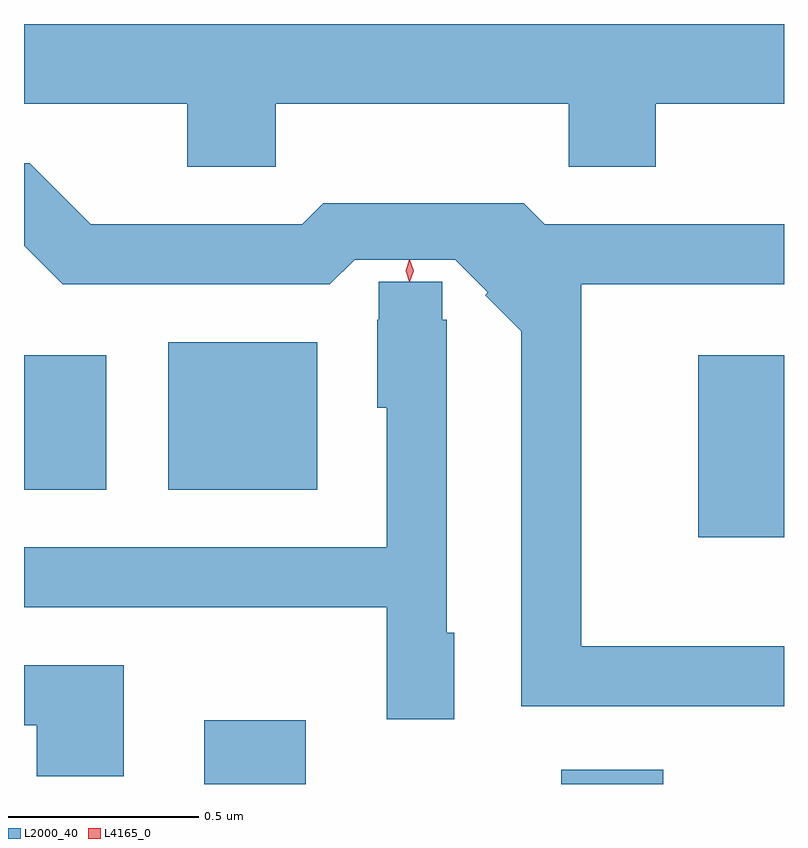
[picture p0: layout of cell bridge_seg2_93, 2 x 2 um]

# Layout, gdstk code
import gdstk
lib = gdstk.Library(unit=1e-6, precision=1e-09)
def R(c, l, rs):  # rectangles x0, y0, x1, y1
    for r in rs: c.add(gdstk.rectangle(r[:2], r[2:], *l))
def P(c, l, *ps):  # polygons
    for p in ps: c.add(gdstk.Polygon(p, *l))
L2000_40 = (2000, 40)
L4165_0 = (4165, 0)

bridge_seg2_93 = lib.new_cell('bridge_seg2_93')
R(bridge_seg2_93, L2000_40, [(1240.541,997.686,1240.809,997.854), (1241.481,997.686,1241.749,997.724), (1241.841,998.336,1242.067,998.814), (1240.067,998.461,1240.284,998.814), (1240.446,998.461,1240.839,998.849)])
P(bridge_seg2_93, L2000_40, [(1240.729,999.476),(1241.501,999.476),(1241.501,999.311),(1241.729,999.311),(1241.729,999.476),(1242.067,999.476),(1242.067,999.686),(1240.067,999.686),(1240.067,999.476),(1240.496,999.476),(1240.496,999.311),(1240.729,999.311)],
  [(1242.067,998.049),(1241.534,998.049),(1241.534,999.001),(1242.067,999.001),(1242.067,999.159),(1241.437,999.159),(1241.382,999.214),(1240.854,999.214),(1240.799,999.159),(1240.242,999.159),(1240.082,999.319),(1240.067,999.319),(1240.067,999.103),(1240.169,999.001),(1240.872,999.001),(1240.937,999.066),(1241.202,999.066),(1241.288,998.98),(1241.281,998.972),(1241.376,998.877),(1241.376,997.891),(1242.067,997.891)],
  [(1241.199,998.084),(1241.179,998.084),(1241.179,998.908),(1241.168,998.908),(1241.168,999.008),(1241,999.008),(1241,998.908),(1240.996,998.908),(1240.996,998.676),(1241.021,998.676),(1241.021,998.309),(1240.067,998.309),(1240.067,998.151),(1241.021,998.151),(1241.021,997.856),(1241.199,997.856)],
  [(1240.329,997.999),(1240.067,997.999),(1240.067,997.841),(1240.101,997.841),(1240.101,997.706),(1240.329,997.706)])
P(bridge_seg2_93, L4165_0, [(1241.081,999.008),(1241.072,999.037),(1241.081,999.065),(1241.081,999.066),(1241.082,999.065),(1241.092,999.037),(1241.082,999.008),(1241.082,999.008)],
  [(1241.081,999.011),(1241.072,999.037),(1241.081,999.063),(1241.081,999.063),(1241.082,999.063),(1241.092,999.037),(1241.082,999.011),(1241.082,999.011)])

lib.write_gds('bridge_seg2_93.gds')
